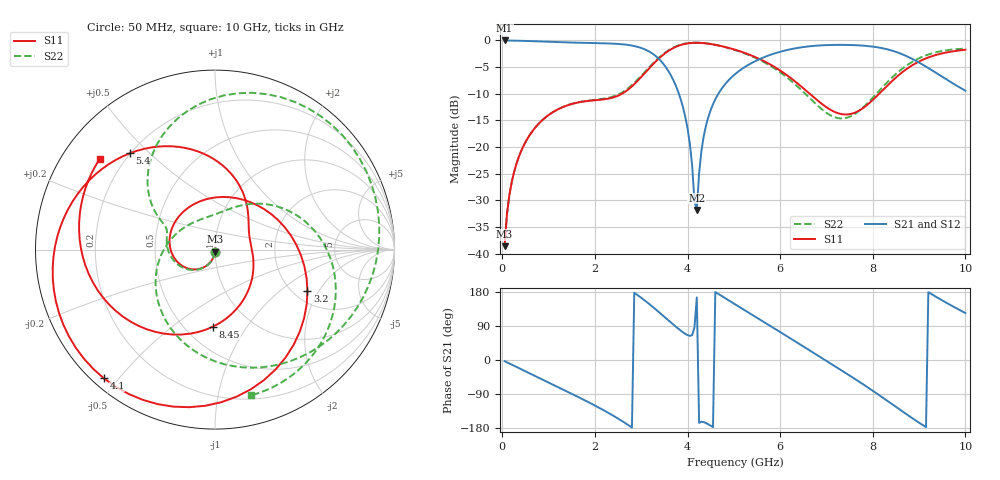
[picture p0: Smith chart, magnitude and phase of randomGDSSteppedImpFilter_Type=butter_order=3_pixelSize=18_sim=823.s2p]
! freq	dB(S11)	phase(S11)	dB(S12)	phase(S12)
!  dB(S21)	phase(S21)	dB(S22)	phase(S22)
!S-par simulation data
#  GHz  S  DB  R 50
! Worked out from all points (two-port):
!   200 points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, 50 MHz to 10 GHz, reference 50 ohm
!   highest |S21| = -0.01 dB at 50 MHz (marker M1); lowest = -31.8 dB at 4.2 GHz (marker M2)
!   |S21| within 3 dB of the highest: start of sweep to 3.322 GHz; 5.695 GHz to 8.744 GHz (3.048 GHz wide, 42.2 % of centre)
!   lowest |S11| = -38.6 dB at 50 MHz (marker M3), VSWR 1.02, Z = 49.9 - j1.17 ohm
!   |S11| at or under -10 dB: start of sweep to 2.586 GHz; 6.637 GHz to 8.139 GHz (1.502 GHz wide, 20.3 % of centre)
!   |S22| runs from -38.6 to -0.4 dB; largest |S21 - S12| = 0
!   S11 on the Smith chart (normalised r, x): 50 MHz: 1.00, -0.02; 3.2 GHz: 2.37, -1.59; 4.1 GHz: 0.03, -0.46; 5.4 GHz: 0.20, +0.44; 8.45 GHz: 0.68, -0.71; 10 GHz: 0.11, +0.34
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0.05  -38.62 -92.0  -0.01 -3.0  -0.01 -3.0  -38.62 -92.0
0.2  -26.75 -102.1  -0.03 -12.0  -0.03 -12.0  -26.75 -102.0
0.5  -19.11 -120.6  -0.10 -29.9  -0.10 -29.9  -19.10 -120.0
1.75  -11.48 155.2  -0.46 -104.4  -0.46 -104.4  -11.42 174.7
2.6  -9.93 60.8  -0.73 -162.1  -0.73 -162.1  -9.69 152.9
3.2  -4.98 -24.0  -2.23 145.1  -2.23 145.1  -4.79 130.2
3.4  -3.25 -50.4  -3.63 124.5  -3.63 124.5  -3.10 114.8
3.85  -0.87 -104.9  -10.97 77.9  -10.97 77.9  -0.79 71.6
4.1  -0.47 -130.9  -23.52 65.5  -23.52 65.5  -0.42 46.6
4.2  -0.44 -140.4  -31.82 165.2  -31.82 165.2  -0.41 36.9
4.3  -0.48 -149.3  -20.73 -162.7  -20.73 -162.7  -0.45 27.4
4.45  -0.61 -162.0  -14.35 -169.8  -14.35 -169.8  -0.60 13.4
5.05  -1.81 154.3  -6.16 145.0  -6.16 145.0  -1.87 -38.9
5.4  -2.90 131.5  -4.17 118.9  -4.17 118.9  -3.03 -68.3
6.05  -5.94 90.8  -2.01 70.1  -2.01 70.1  -6.31 -124.0
6.7  -10.47 53.3  -1.05 20.5  -1.05 20.5  -11.34 174.7
7.2  -13.51 26.1  -0.84 -17.8  -0.84 -17.8  -14.48 121.9
7.7  -13.20 -13.2  -0.93 -56.8  -0.93 -56.8  -13.25 78.5
8.35  -8.17 -81.1  -1.75 -110.8  -1.75 -110.8  -7.53 35.0
8.45  -7.35 -91.4  -2.01 -119.4  -2.01 -119.4  -6.69 27.9
9.2  -3.20 -160.9  -5.18 179.0  -5.18 179.0  -2.64 -25.6
10  -1.75 141.9  -9.43 123.8  -9.43 123.8  -1.55 -75.9
